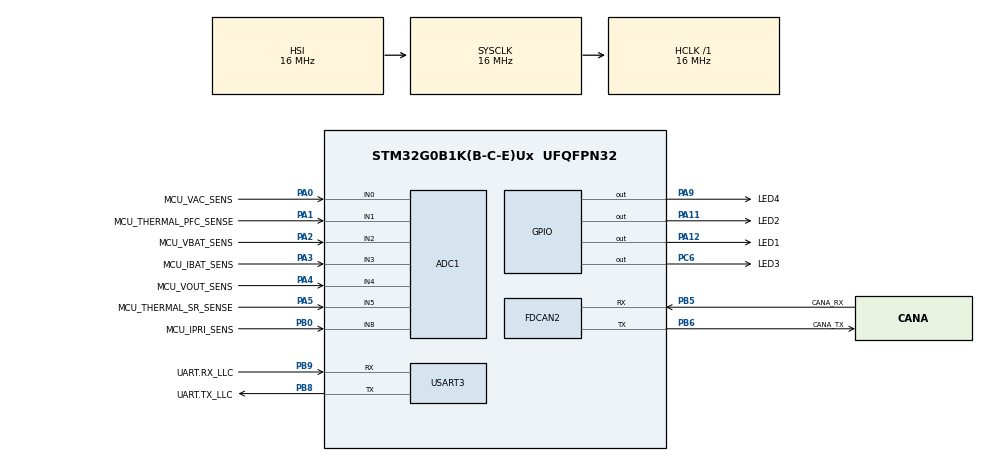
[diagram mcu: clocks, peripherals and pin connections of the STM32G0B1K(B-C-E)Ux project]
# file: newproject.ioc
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ADC1.Channel-3\#ChannelRegularConversion=ADC_CHANNEL_0
ADC1.Channel-4\#ChannelRegularConversion=ADC_CHANNEL_1
ADC1.Channel-5\#ChannelRegularConversion=ADC_CHANNEL_2
ADC1.Channel-6\#ChannelRegularConversion=ADC_CHANNEL_3
ADC1.Channel-7\#ChannelRegularConversion=ADC_CHANNEL_4
ADC1.Channel-8\#ChannelRegularConversion=ADC_CHANNEL_5
ADC1.Channel-9\#ChannelRegularConversion=ADC_CHANNEL_8
ADC1.ContinuousConvMode=ENABLE
ADC1.DMAContinuousRequests=ENABLE
ADC1.NbrOfConversion=7
ADC1.NbrOfConversionFlag=1
ADC1.Rank-3\#ChannelRegularConversion=1
ADC1.Rank-4\#ChannelRegularConversion=2
ADC1.Rank-5\#ChannelRegularConversion=3
ADC1.Rank-6\#ChannelRegularConversion=4
ADC1.Rank-7\#ChannelRegularConversion=5
ADC1.Rank-8\#ChannelRegularConversion=6
ADC1.Rank-9\#ChannelRegularConversion=7
ADC1.SamplingTime-3\#ChannelRegularConversion=ADC_SAMPLINGTIME_COMMON_1
ADC1.SamplingTime-4\#ChannelRegularConversion=ADC_SAMPLINGTIME_COMMON_1
ADC1.SamplingTime-5\#ChannelRegularConversion=ADC_SAMPLINGTIME_COMMON_1
ADC1.SamplingTime-6\#ChannelRegularConversion=ADC_SAMPLINGTIME_COMMON_1
ADC1.SamplingTime-7\#ChannelRegularConversion=ADC_SAMPLINGTIME_COMMON_1
ADC1.SamplingTime-8\#ChannelRegularConversion=ADC_SAMPLINGTIME_COMMON_1
ADC1.SamplingTime-9\#ChannelRegularConversion=ADC_SAMPLINGTIME_COMMON_1
ADC1.SamplingTimeCommon1=ADC_SAMPLETIME_79CYCLES_5
ADC1.SelectedChannel=ADC_CHANNEL_0|ADC_CHANNEL_1|ADC_CHANNEL_2|ADC_CHANNEL_3|ADC_CHANNEL_4|ADC_CHANNEL_5|ADC_CHANNEL_8
ADC1.master=1
Dma.ADC1.0.Direction=DMA_PERIPH_TO_MEMORY
Dma.ADC1.0.EventEnable=DISABLE
Dma.ADC1.0.Instance=DMA1_Channel1
Dma.ADC1.0.MemDataAlignment=DMA_MDATAALIGN_HALFWORD
Dma.ADC1.0.MemInc=DMA_MINC_ENABLE
Dma.ADC1.0.Mode=DMA_CIRCULAR
Dma.ADC1.0.PeriphDataAlignment=DMA_PDATAALIGN_HALFWORD
Dma.ADC1.0.PeriphInc=DMA_PINC_DISABLE
Dma.ADC1.0.Polarity=HAL_DMAMUX_REQ_GEN_RISING
Dma.ADC1.0.Priority=DMA_PRIORITY_LOW
Dma.ADC1.0.RequestNumber=1
Dma.ADC1.0.SignalID=NONE
Dma.ADC1.0.SyncEnable=DISABLE
Dma.ADC1.0.SyncPolarity=HAL_DMAMUX_SYNC_NO_EVENT
Dma.ADC1.0.SyncRequestNumber=1
Dma.ADC1.0.SyncSignalID=NONE
Dma.Request0=ADC1
Dma.Request1=USART3_RX
Dma.Request2=USART3_TX
Dma.USART3_RX.1.Direction=DMA_PERIPH_TO_MEMORY
Dma.USART3_RX.1.EventEnable=DISABLE
Dma.USART3_RX.1.Instance=DMA1_Channel2
Dma.USART3_RX.1.MemDataAlignment=DMA_MDATAALIGN_BYTE
Dma.USART3_RX.1.MemInc=DMA_MINC_ENABLE
Dma.USART3_RX.1.Mode=DMA_NORMAL
Dma.USART3_RX.1.PeriphDataAlignment=DMA_PDATAALIGN_BYTE
Dma.USART3_RX.1.PeriphInc=DMA_PINC_DISABLE
Dma.USART3_RX.1.Polarity=HAL_DMAMUX_REQ_GEN_RISING
Dma.USART3_RX.1.Priority=DMA_PRIORITY_LOW
Dma.USART3_RX.1.RequestNumber=1
Dma.USART3_RX.1.SignalID=NONE
Dma.USART3_RX.1.SyncEnable=DISABLE
Dma.USART3_RX.1.SyncPolarity=HAL_DMAMUX_SYNC_NO_EVENT
Dma.USART3_RX.1.SyncRequestNumber=1
Dma.USART3_RX.1.SyncSignalID=NONE
Dma.USART3_TX.2.Direction=DMA_MEMORY_TO_PERIPH
Dma.USART3_TX.2.EventEnable=DISABLE
Dma.USART3_TX.2.Instance=DMA1_Channel3
Dma.USART3_TX.2.MemDataAlignment=DMA_MDATAALIGN_BYTE
Dma.USART3_TX.2.MemInc=DMA_MINC_ENABLE
Dma.USART3_TX.2.Mode=DMA_NORMAL
Dma.USART3_TX.2.PeriphDataAlignment=DMA_PDATAALIGN_BYTE
Dma.USART3_TX.2.PeriphInc=DMA_PINC_DISABLE
Dma.USART3_TX.2.Polarity=HAL_DMAMUX_REQ_GEN_RISING
Dma.USART3_TX.2.Priority=DMA_PRIORITY_LOW
Dma.USART3_TX.2.RequestNumber=1
Dma.USART3_TX.2.SignalID=NONE
Dma.USART3_TX.2.SyncEnable=DISABLE
Dma.USART3_TX.2.SyncPolarity=HAL_DMAMUX_SYNC_NO_EVENT
Dma.USART3_TX.2.SyncRequestNumber=1
Dma.USART3_TX.2.SyncSignalID=NONE
FDCAN2.AutoRetransmission=ENABLE
FDCAN2.CalculateBaudRateNominal=250000
FDCAN2.CalculateTimeBitNominal=4000
FDCAN2.CalculateTimeQuantumNominal=62.5
FDCAN2.FrameFormat=FDCAN_FRAME_FD_NO_BRS
FDCAN2.NominalPrescaler=1
FDCAN2.NominalSyncJumpWidth=16
FDCAN2.NominalTimeSeg1=47
FDCAN2.NominalTimeSeg2=16
FDCAN2.StdFiltersNbr=1
FDCAN2.TxFifoQueueMode=FDCAN_TX_FIFO_OPERATION
Mcu.Family=STM32G0
Mcu.Name=STM32G0B1K(B-C-E)Ux
Mcu.Package=UFQFPN32
NVIC.DMA1_Channel1_IRQn=true\:0\:0\:false\:false\:true\:false\:true\:true
NVIC.DMA1_Channel2_3_IRQn=true\:0\:0\:false\:false\:true\:false\:true\:true
NVIC.TIM16_FDCAN_IT0_IRQn=true\:0\:0\:false\:false\:true\:true\:true\:true
NVIC.TIM17_FDCAN_IT1_IRQn=true\:0\:0\:false\:false\:true\:true\:true\:true
NVIC.TIM2_IRQn=true\:0\:0\:false\:false\:true\:true\:true\:true
NVIC.USART3_4_5_6_LPUART1_IRQn=true\:0\:0\:false\:false\:true\:true\:true\:true
PA0.GPIO_Label=MCU_VAC_SENS
PA0.Mode=IN0
PA0.Signal=ADC1_IN0
PA1.GPIO_Label=MCU_THERMAL_PFC_SENSE
PA1.Mode=IN1
PA1.Signal=ADC1_IN1
PA11\ [PA9].GPIO_Label=LED2
PA11\ [PA9].Signal=GPIO_Output
PA12\ [PA10].GPIO_Label=LED1
PA12\ [PA10].Signal=GPIO_Output
PA13.GPIO_Label=SWD_LLC
PA13.Mode=Serial_Wire
PA13.Signal=SYS_SWDIO
PA14-BOOT0.GPIO_Label=SWCLK_LLC
PA14-BOOT0.Mode=Serial_Wire
PA14-BOOT0.Signal=SYS_SWCLK
PA2.GPIO_Label=MCU_VBAT_SENS
PA2.Mode=IN2
PA2.Signal=ADC1_IN2
PA3.GPIO_Label=MCU_IBAT_SENS
PA3.Mode=IN3
PA3.Signal=ADC1_IN3
PA4.GPIO_Label=MCU_VOUT_SENS
PA4.Mode=IN4
PA4.Signal=ADC1_IN4
PA5.GPIO_Label=MCU_THERMAL_SR_SENSE
PA5.Mode=IN5
PA5.Signal=ADC1_IN5
PA9.GPIO_Label=LED4
PA9.GPIO_PuPd=GPIO_NOPULL
PA9.Signal=GPIO_Output
PB0.GPIO_Label=MCU_IPRI_SENS
PB0.Mode=IN8
PB0.Signal=ADC1_IN8
PB5.GPIO_Label=CANA_RX
PB5.GPIO_PuPd=GPIO_PULLUP
PB5.Mode=FDCAN_Activate
PB5.Signal=FDCAN2_RX
PB6.GPIO_Label=CANA_TX
PB6.Mode=FDCAN_Activate
PB6.Signal=FDCAN2_TX
PB8.GPIO_Label=UART.TX_LLC
PB8.GPIO_PuPd=GPIO_NOPULL
PB8.Mode=Asynchronous
PB8.Signal=USART3_TX
PB9.GPIO_Label=UART.RX_LLC
PB9.GPIO_PuPd=GPIO_PULLUP
PB9.Mode=Asynchronous
PB9.Signal=USART3_RX
PC6.GPIO_Label=LED3
PC6.Signal=GPIO_Output
ProjectManager.HeapSize=0x200
ProjectManager.StackSize=0x400
ProjectManager.TargetToolchain=STM32CubeIDE
RCC.ADCFreq_Value=16000000
RCC.AHBFreq_Value=16000000
RCC.CortexFreq_Value=16000000
RCC.EXTERNAL_CLOCK_VALUE=48000
RCC.HCLKFreq_Value=16000000
RCC.HSE_VALUE=8000000
RCC.HSI48_VALUE=48000000
RCC.HSI_VALUE=16000000
RCC.LSE_VALUE=32768
RCC.SYSCLKFreq_VALUE=16000000
RCC.USBFreq_Value=48000000
RCC.VCOOutputFreq_Value=128000000
TIM2.Period=799
TIM2.Prescaler=0
TIM2.TIM_MasterOutputTrigger=TIM_TRGO_UPDATE
USART3.MSBFirstParam=ADVFEATURE_MSBFIRST_DISABLE
USART3.VirtualMode-Asynchronous=VM_ASYNC
VP_SYS_VS_DBSignals.Mode=DisableDeadBatterySignals
VP_TIM2_VS_ClockSourceINT.Mode=Internal
board=custom

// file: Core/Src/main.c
/* USER CODE BEGIN Header */
/**
  ******************************************************************************
  * @file           : main.c
  * @brief          : Main program body
  ******************************************************************************
  * @attention
  *
  * Copyright (c) 2026 STMicroelectronics.
  * All rights reserved.
  *
  * This software is licensed under terms that can be found in the LICENSE file
  * in the root directory of this software component.
  * If no LICENSE file comes with this software, it is provided AS-IS.
  *
  ******************************************************************************
  */
/* USER CODE END Header */
#include "main.h"

/* USER CODE BEGIN Includes */
#include "drv_gpio_core.h"
#include "drv_timer_core.h"
#include "drv_adc_core.h"
#include "drv_uart_core.h"
#include "drv_can_core.h"

/* USER CODE END Includes */

ADC_HandleTypeDef hadc1;
DMA_HandleTypeDef hdma_adc1;

FDCAN_HandleTypeDef hfdcan2;

TIM_HandleTypeDef htim2;

UART_HandleTypeDef huart3;
DMA_HandleTypeDef hdma_usart3_rx;
DMA_HandleTypeDef hdma_usart3_tx;

/* USER CODE BEGIN PV */
static uint32_t rx_id = 0;
static uint8_t rx_buffer[64] = {0};
uint8_t *rx_buffer_ptr = rx_buffer;

uint8_t tx[2];

/* USER CODE END PV */

void SystemClock_Config(void);
static void MX_GPIO_Init(void);
static void MX_DMA_Init(void);
static void MX_TIM2_Init(void);
static void MX_ADC1_Init(void);
static void MX_USART3_UART_Init(void);
static void MX_FDCAN2_Init(void);

/* USER CODE BEGIN 0 */

void drv_uart_rx_callback () {
	drv_gpio_toggle_pin(LED3);
	drv_can_send_message (0x002, rx_buffer);
	drv_uart_send_message (rx_buffer_ptr);

}

/* USER CODE END 0 */

int main(void)
{

  /* MCU Configuration--------------------------------------------------------*/

  /* Reset of all peripherals, Initializes the Flash interface and the Systick. */
  HAL_Init();

  /* Configure the system clock */
  SystemClock_Config();

  /* Initialize all configured peripherals */
  MX_GPIO_Init();
  MX_DMA_Init();
  MX_TIM2_Init();
  MX_ADC1_Init();
  MX_USART3_UART_Init();
  MX_FDCAN2_Init();
  /* USER CODE BEGIN 2 */
  drv_gpio_init();
  drv_can_init();
  drv_can_receive_message(&rx_id, rx_buffer);
  drv_uart_init();
  rx_buffer_ptr = drv_uart_receive_message();
	  tx[0] = 0x1C;

	  tx[1] = 0xB;

  /* USER CODE END 2 */

  /* Infinite loop */
  while (1)
  {

    /* USER CODE BEGIN 3 */

	drv_uart_send_message(tx);
	drv_can_send_message(0x001, tx);
	HAL_Delay(1000);

  }
  /* USER CODE END 3 */
}

void SystemClock_Config(void)
{
  RCC_OscInitTypeDef RCC_OscInitStruct = {0};
  RCC_ClkInitTypeDef RCC_ClkInitStruct = {0};

  /** Configure the main internal regulator output voltage
  */
  HAL_PWREx_ControlVoltageScaling(PWR_REGULATOR_VOLTAGE_SCALE1);

  /** Initializes the RCC Oscillators according to the specified parameters
  * in the RCC_OscInitTypeDef structure.
  */
  RCC_OscInitStruct.OscillatorType = RCC_OSCILLATORTYPE_HSI;
  RCC_OscInitStruct.HSIState = RCC_HSI_ON;
  RCC_OscInitStruct.HSIDiv = RCC_HSI_DIV1;
  RCC_OscInitStruct.HSICalibrationValue = RCC_HSICALIBRATION_DEFAULT;
  RCC_OscInitStruct.PLL.PLLState = RCC_PLL_NONE;
  if (HAL_RCC_OscConfig(&RCC_OscInitStruct) != HAL_OK)
  {
    Error_Handler();
  }

  /** Initializes the CPU, AHB and APB buses clocks
  */
  RCC_ClkInitStruct.ClockType = RCC_CLOCKTYPE_HCLK|RCC_CLOCKTYPE_SYSCLK
                              |RCC_CLOCKTYPE_PCLK1;
  RCC_ClkInitStruct.SYSCLKSource = RCC_SYSCLKSOURCE_HSI;
  RCC_ClkInitStruct.AHBCLKDivider = RCC_SYSCLK_DIV1;
  RCC_ClkInitStruct.APB1CLKDivider = RCC_HCLK_DIV1;

  if (HAL_RCC_ClockConfig(&RCC_ClkInitStruct, FLASH_LATENCY_0) != HAL_OK)
  {
    Error_Handler();
  }
}

static void MX_ADC1_Init(void)
{

  ADC_ChannelConfTypeDef sConfig = {0};

  /** Configure the global features of the ADC (Clock, Resolution, Data Alignment and number of conversion)
  */
  hadc1.Instance = ADC1;
  hadc1.Init.ClockPrescaler = ADC_CLOCK_SYNC_PCLK_DIV2;
  hadc1.Init.Resolution = ADC_RESOLUTION_12B;
  hadc1.Init.DataAlign = ADC_DATAALIGN_RIGHT;
  hadc1.Init.ScanConvMode = ADC_SCAN_ENABLE;
  hadc1.Init.EOCSelection = ADC_EOC_SINGLE_CONV;
  hadc1.Init.LowPowerAutoWait = DISABLE;
  hadc1.Init.LowPowerAutoPowerOff = DISABLE;
  hadc1.Init.ContinuousConvMode = ENABLE;
  hadc1.Init.NbrOfConversion = 7;
  hadc1.Init.ExternalTrigConv = ADC_SOFTWARE_START;
  hadc1.Init.ExternalTrigConvEdge = ADC_EXTERNALTRIGCONVEDGE_NONE;
  hadc1.Init.DMAContinuousRequests = ENABLE;
  hadc1.Init.Overrun = ADC_OVR_DATA_PRESERVED;
  hadc1.Init.SamplingTimeCommon1 = ADC_SAMPLETIME_79CYCLES_5;
  hadc1.Init.SamplingTimeCommon2 = ADC_SAMPLETIME_1CYCLE_5;
  hadc1.Init.OversamplingMode = DISABLE;
  hadc1.Init.TriggerFrequencyMode = ADC_TRIGGER_FREQ_HIGH;
  if (HAL_ADC_Init(&hadc1) != HAL_OK)
  {
    Error_Handler();
  }

  /** Configure Regular Channel
  */
  sConfig.Channel = ADC_CHANNEL_0;
  sConfig.Rank = ADC_REGULAR_RANK_1;
  sConfig.SamplingTime = ADC_SAMPLINGTIME_COMMON_1;
  if (HAL_ADC_ConfigChannel(&hadc1, &sConfig) != HAL_OK)
  {
    Error_Handler();
  }

  /** Configure Regular Channel
  */
  sConfig.Channel = ADC_CHANNEL_1;
  sConfig.Rank = ADC_REGULAR_RANK_2;
  if (HAL_ADC_ConfigChannel(&hadc1, &sConfig) != HAL_OK)
  {
    Error_Handler();
  }

  /** Configure Regular Channel
  */
  sConfig.Channel = ADC_CHANNEL_2;
  sConfig.Rank = ADC_REGULAR_RANK_3;
  if (HAL_ADC_ConfigChannel(&hadc1, &sConfig) != HAL_OK)
  {
    Error_Handler();
  }

  /** Configure Regular Channel
  */
  sConfig.Channel = ADC_CHANNEL_3;
  sConfig.Rank = ADC_REGULAR_RANK_4;
  if (HAL_ADC_ConfigChannel(&hadc1, &sConfig) != HAL_OK)
  {
    Error_Handler();
  }

  /** Configure Regular Channel
  */
  sConfig.Channel = ADC_CHANNEL_4;
  sConfig.Rank = ADC_REGULAR_RANK_5;
  if (HAL_ADC_ConfigChannel(&hadc1, &sConfig) != HAL_OK)
  {
    Error_Handler();
  }

  /** Configure Regular Channel
  */
  sConfig.Channel = ADC_CHANNEL_5;
  sConfig.Rank = ADC_REGULAR_RANK_6;
  if (HAL_ADC_ConfigChannel(&hadc1, &sConfig) != HAL_OK)
  {
    Error_Handler();
  }

  /** Configure Regular Channel
  */
  sConfig.Channel = ADC_CHANNEL_8;
  sConfig.Rank = ADC_REGULAR_RANK_7;
  if (HAL_ADC_ConfigChannel(&hadc1, &sConfig) != HAL_OK)
  {
    Error_Handler();
  }

}

static void MX_FDCAN2_Init(void)
{

  hfdcan2.Instance = FDCAN2;
  hfdcan2.Init.ClockDivider = FDCAN_CLOCK_DIV1;
  hfdcan2.Init.FrameFormat = FDCAN_FRAME_FD_NO_BRS;
  hfdcan2.Init.Mode = FDCAN_MODE_NORMAL;
  hfdcan2.Init.AutoRetransmission = ENABLE;
  hfdcan2.Init.TransmitPause = DISABLE;
  hfdcan2.Init.ProtocolException = DISABLE;
  hfdcan2.Init.NominalPrescaler = 1;
  hfdcan2.Init.NominalSyncJumpWidth = 16;
  hfdcan2.Init.NominalTimeSeg1 = 47;
  hfdcan2.Init.NominalTimeSeg2 = 16;
  hfdcan2.Init.DataPrescaler = 1;
  hfdcan2.Init.DataSyncJumpWidth = 1;
  hfdcan2.Init.DataTimeSeg1 = 1;
  hfdcan2.Init.DataTimeSeg2 = 1;
  hfdcan2.Init.StdFiltersNbr = 1;
  hfdcan2.Init.ExtFiltersNbr = 0;
  hfdcan2.Init.TxFifoQueueMode = FDCAN_TX_FIFO_OPERATION;
  if (HAL_FDCAN_Init(&hfdcan2) != HAL_OK)
  {
    Error_Handler();
  }

}

static void MX_TIM2_Init(void)
{

  TIM_ClockConfigTypeDef sClockSourceConfig = {0};
  TIM_MasterConfigTypeDef sMasterConfig = {0};

  htim2.Instance = TIM2;
  htim2.Init.Prescaler = 0;
  htim2.Init.CounterMode = TIM_COUNTERMODE_UP;
  htim2.Init.Period = 799;
  htim2.Init.ClockDivision = TIM_CLOCKDIVISION_DIV1;
  htim2.Init.AutoReloadPreload = TIM_AUTORELOAD_PRELOAD_DISABLE;
  if (HAL_TIM_Base_Init(&htim2) != HAL_OK)
  {
    Error_Handler();
  }
  sClockSourceConfig.ClockSource = TIM_CLOCKSOURCE_INTERNAL;
  if (HAL_TIM_ConfigClockSource(&htim2, &sClockSourceConfig) != HAL_OK)
  {
    Error_Handler();
  }
  sMasterConfig.MasterOutputTrigger = TIM_TRGO_UPDATE;
  sMasterConfig.MasterSlaveMode = TIM_MASTERSLAVEMODE_DISABLE;
  if (HAL_TIMEx_MasterConfigSynchronization(&htim2, &sMasterConfig) != HAL_OK)
  {
    Error_Handler();
  }

}

static void MX_USART3_UART_Init(void)
{

  huart3.Instance = USART3;
  huart3.Init.BaudRate = 115200;
  huart3.Init.WordLength = UART_WORDLENGTH_8B;
  huart3.Init.StopBits = UART_STOPBITS_1;
  huart3.Init.Parity = UART_PARITY_NONE;
  huart3.Init.Mode = UART_MODE_TX_RX;
  huart3.Init.HwFlowCtl = UART_HWCONTROL_NONE;
  huart3.Init.OverSampling = UART_OVERSAMPLING_16;
  huart3.Init.OneBitSampling = UART_ONE_BIT_SAMPLE_DISABLE;
  huart3.Init.ClockPrescaler = UART_PRESCALER_DIV1;
  huart3.AdvancedInit.AdvFeatureInit = UART_ADVFEATURE_NO_INIT;
  if (HAL_UART_Init(&huart3) != HAL_OK)
  {
    Error_Handler();
  }
  if (HAL_UARTEx_SetTxFifoThreshold(&huart3, UART_TXFIFO_THRESHOLD_1_8) != HAL_OK)
  {
    Error_Handler();
  }
  if (HAL_UARTEx_SetRxFifoThreshold(&huart3, UART_RXFIFO_THRESHOLD_1_8) != HAL_OK)
  {
    Error_Handler();
  }
  if (HAL_UARTEx_DisableFifoMode(&huart3) != HAL_OK)
  {
    Error_Handler();
  }

}

static void MX_DMA_Init(void)
{

  /* DMA controller clock enable */
  __HAL_RCC_DMA1_CLK_ENABLE();

  /* DMA interrupt init */
  /* DMA1_Channel1_IRQn interrupt configuration */
  HAL_NVIC_SetPriority(DMA1_Channel1_IRQn, 0, 0);
  HAL_NVIC_EnableIRQ(DMA1_Channel1_IRQn);
  /* DMA1_Channel2_3_IRQn interrupt configuration */
  HAL_NVIC_SetPriority(DMA1_Channel2_3_IRQn, 0, 0);
  HAL_NVIC_EnableIRQ(DMA1_Channel2_3_IRQn);

}

static void MX_GPIO_Init(void)
{
  GPIO_InitTypeDef GPIO_InitStruct = {0};

  /* GPIO Ports Clock Enable */
  __HAL_RCC_GPIOB_CLK_ENABLE();
  __HAL_RCC_GPIOA_CLK_ENABLE();
  __HAL_RCC_GPIOC_CLK_ENABLE();

  /*Configure GPIO pin Output Level */
  HAL_GPIO_WritePin(GPIOA, LED4_Pin|LED2_Pin|LED1_Pin, GPIO_PIN_RESET);

  /*Configure GPIO pin Output Level */
  HAL_GPIO_WritePin(LED3_GPIO_Port, LED3_Pin, GPIO_PIN_RESET);

  /*Configure GPIO pins : LED4_Pin LED2_Pin LED1_Pin */
  GPIO_InitStruct.Pin = LED4_Pin|LED2_Pin|LED1_Pin;
  GPIO_InitStruct.Mode = GPIO_MODE_OUTPUT_PP;
  GPIO_InitStruct.Pull = GPIO_NOPULL;
  GPIO_InitStruct.Speed = GPIO_SPEED_FREQ_LOW;
  HAL_GPIO_Init(GPIOA, &GPIO_InitStruct);

  /*Configure GPIO pin : LED3_Pin */
  GPIO_InitStruct.Pin = LED3_Pin;
  GPIO_InitStruct.Mode = GPIO_MODE_OUTPUT_PP;
  GPIO_InitStruct.Pull = GPIO_NOPULL;
  GPIO_InitStruct.Speed = GPIO_SPEED_FREQ_LOW;
  HAL_GPIO_Init(LED3_GPIO_Port, &GPIO_InitStruct);

}

void Error_Handler(void)
{
  __disable_irq();
  while (1)
  {
  }
}
